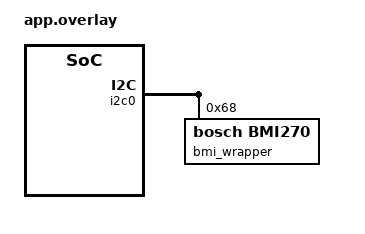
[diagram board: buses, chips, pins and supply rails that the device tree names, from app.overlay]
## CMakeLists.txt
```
cmake_minimum_required(VERSION 3.20.0)

find_package(Zephyr REQUIRED HINTS $ENV{ZEPHYR_BASE})
project(app)

# special include just to get the header
zephyr_include_directories(${ZEPHYR_BASE}/drivers/sensor/bosch/bmi270)

target_sources(app PRIVATE src/bmi_wrapper.c)
target_sources(app PRIVATE src/main.c)
```

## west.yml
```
manifest:
  remotes:
    - name: zephyrproject-rtos
      url-base: https://github.com/zephyrproject-rtos
  projects:
    - name: zephyr
      remote: zephyrproject-rtos
      revision: v3.7.1
      import: true
  self:
    path: app
```

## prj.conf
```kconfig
CONFIG_LOG=y
CONFIG_I2C=y
CONFIG_SENSOR=y
CONFIG_BMI270=y
```

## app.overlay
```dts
&i2c0 {
	status = "okay";
	bmi_wrapper: bmi270@68 {
		compatible = "bosch,bmi270";
		reg = <0x68>;
        	status = "okay";
	};
};
```

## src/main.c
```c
#include <zephyr/kernel.h>
#include <zephyr/logging/log.h>

#include "bmi_wrapper.h"

LOG_MODULE_REGISTER(main, CONFIG_LOG_DEFAULT_LEVEL);

static void print_sensor_values(const struct sensor_value *acc, const struct sensor_value *gyr,
				const struct sensor_value *steps)
{
	LOG_INF("AX: %d.%06d; AY: %d.%06d; AZ: %d.%06d; "
		"GX: %d.%06d; GY: %d.%06d; GZ: %d.%06d; "
		"Steps: %d",
		acc[0].val1, acc[0].val2, acc[1].val1, acc[1].val2, acc[2].val1, acc[2].val2,
		gyr[0].val1, gyr[0].val2, gyr[1].val1, gyr[1].val2, gyr[2].val1, gyr[2].val2,
		steps->val1);
}

int main(void)
{
	int ret = configure_bmi270();
	if (ret != 0) {
		LOG_ERR("Failed to configure BMI270: %d", ret);
		return -1;
	}

	struct sensor_value acc[3];
	struct sensor_value gyr[3];
	struct sensor_value steps;

	while (1) {
		k_msleep(1000);

		ret = read_data_bmi270(acc, gyr, &steps);
		if (ret != 0) {
			LOG_ERR("Failed to read BMI270: %d", ret);
			return -1;
		}

		print_sensor_values(acc, gyr, &steps);

		LOG_INF("Hello from %s", CONFIG_BOARD_TARGET);
	}

	return 0;
}
```

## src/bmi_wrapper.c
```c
#include <zephyr/kernel.h>
#include <zephyr/logging/log.h>
#include <zephyr/device.h>
#include <zephyr/drivers/sensor.h>

#include "bmi270.h"
#include "bmi_wrapper.h"

LOG_MODULE_REGISTER(bmi_wrapper, CONFIG_LOG_DEFAULT_LEVEL);

// Defines

#define BMI270_REG_SC_26 0x32

#define BMI270_REG_SC_26_EN_DETECTOR BIT(11)
#define BMI270_REG_SC_26_EN_COUNTER  BIT(12)
#define BMI270_REG_SC_26_EN_ACTIVITY BIT(13)

static const struct device *const bmi_dev = DEVICE_DT_GET(DT_NODELABEL(bmi_wrapper));

static int configure_accel(struct sensor_value *full_scale, struct sensor_value *sampling_freq,
			   struct sensor_value *oversampling)
{
	int ret;

	ret = sensor_attr_set(bmi_dev, SENSOR_CHAN_ACCEL_XYZ, SENSOR_ATTR_FULL_SCALE, full_scale);
	if (ret < 0) {
		LOG_ERR("Failed to set full scale, error %d", ret);
		return ret;
	}

	ret = sensor_attr_set(bmi_dev, SENSOR_CHAN_ACCEL_XYZ, SENSOR_ATTR_OVERSAMPLING,
			      oversampling);
	if (ret < 0) {
		LOG_ERR("Failed to set oversampling, error %d", ret);
		return ret;
	}

	ret = sensor_attr_set(bmi_dev, SENSOR_CHAN_ACCEL_XYZ, SENSOR_ATTR_SAMPLING_FREQUENCY,
			      sampling_freq);
	if (ret < 0) {
		LOG_ERR("Failed to set sampling frequency, error %d", ret);
		return ret;
	}

	return 0;
}

static int configure_gyro(struct sensor_value *full_scale, struct sensor_value *sampling_freq,
			  struct sensor_value *oversampling)
{
	int ret;

	ret = sensor_attr_set(bmi_dev, SENSOR_CHAN_GYRO_XYZ, SENSOR_ATTR_FULL_SCALE, full_scale);
	if (ret < 0) {
		LOG_ERR("Failed to set full scale, error %d", ret);
		return ret;
	}

	ret = sensor_attr_set(bmi_dev, SENSOR_CHAN_GYRO_XYZ, SENSOR_ATTR_OVERSAMPLING,
			      oversampling);
	if (ret < 0) {
		LOG_ERR("Failed to set oversampling, error %d", ret);
		return ret;
	}

	ret = sensor_attr_set(bmi_dev, SENSOR_CHAN_GYRO_XYZ, SENSOR_ATTR_SAMPLING_FREQUENCY,
			      sampling_freq);
	if (ret < 0) {
		LOG_ERR("Failed to set sampling frequency, error %d", ret);
		return ret;
	}

	return 0;
}

int configure_bmi270(void)
{
	int ret;

	if (!device_is_ready(bmi_dev)) {
		LOG_ERR("Device %s is not ready", bmi_dev->name);
		return -EINVAL;
	}

	// setup accelerometer

	struct sensor_value full_scale = {.val1 = 2, .val2 = 0};
	struct sensor_value sampling_freq = {.val1 = 100, .val2 = 0};
	struct sensor_value oversampling = {.val1 = 1, .val2 = 0};

	ret = configure_accel(&full_scale, &sampling_freq, &oversampling);
	if (ret < 0) {
		LOG_ERR("Failed to configure accelerometer, error %d", ret);
		return ret;
	}

	// setup gyroscope

	full_scale.val1 = 500;
	sampling_freq.val1 = 100;
	oversampling.val1 = 1;

	ret = configure_gyro(&full_scale, &sampling_freq, &oversampling);
	if (ret < 0) {
		LOG_ERR("Failed to configure gyroscope, error %d", ret);
		return ret;
	}

	// setup step counter
	// Since there is no step counter channel,
	// I'll read it directly from the registers

	// For a more serious purpose,
	// a custom driver could be written for this purpose

	// Enable counter
	uint8_t sc_26;
	ret = bmi270_reg_read(bmi_dev, BMI270_REG_SC_26, &sc_26, sizeof(sc_26));
	if (ret != 1) {
		LOG_ERR("Failed to read SC_26, error %d", ret);
		return ret;
	}

	sc_26 |= BMI270_REG_SC_26_EN_COUNTER;

	ret = bmi270_reg_write(bmi_dev, BMI270_REG_SC_26, &sc_26, sizeof(sc_26));
	if (ret != 1) {
		LOG_ERR("Failed to write SC_26, error %d", ret);
		return ret;
	}

	return 0;
}

int read_data_bmi270(struct sensor_value acc[3], struct sensor_value gyr[3],
		     struct sensor_value *steps)
{
	int ret;

	if (!device_is_ready(bmi_dev)) {
		LOG_ERR("Device %s is not ready", bmi_dev->name);
		return -EINVAL;
	}

	ret = sensor_sample_fetch(bmi_dev);
	if (ret < 0) {
		LOG_ERR("Failed to fetch sample, error %d", ret);
		return ret;
	}

	if (acc) {
		ret = sensor_channel_get(bmi_dev, SENSOR_CHAN_ACCEL_XYZ, acc);
		if (ret < 0) {
			LOG_ERR("Failed to get accel sample, error %d", ret);
			return ret;
		}
	}

	if (gyr) {
		ret = sensor_channel_get(bmi_dev, SENSOR_CHAN_GYRO_XYZ, gyr);
		if (ret < 0) {
			LOG_ERR("Failed to get gyr sample, error %d", ret);
			return ret;
		}
	}

	if (steps) {
		uint32_t steps_reg;
		ret = bmi270_reg_read(bmi_dev, BMI270_REG_SC_OUT_0, (uint8_t *)&steps_reg,
				      sizeof(steps_reg));
		if (ret < 0) {
			LOG_ERR("Failed to get steps sample, error %d", ret);
			return ret;
		}

		steps->val1 = steps_reg;
	}

	return 0;
}
```

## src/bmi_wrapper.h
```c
#ifndef BMI_WRAPPER_H_
#define BMI_WRAPPER_H_

#ifdef __cplusplus
extern "C" {
#endif

#include <zephyr/kernel.h>
#include <zephyr/logging/log.h>
#include <zephyr/device.h>
#include <zephyr/drivers/sensor.h>

int configure_bmi270(void);
int read_data_bmi270(struct sensor_value acc[3], struct sensor_value gyr[3],
		     struct sensor_value *steps);

#ifdef __cplusplus
}
#endif

#endif /* BMI_WRAPPER_H_ */
```
